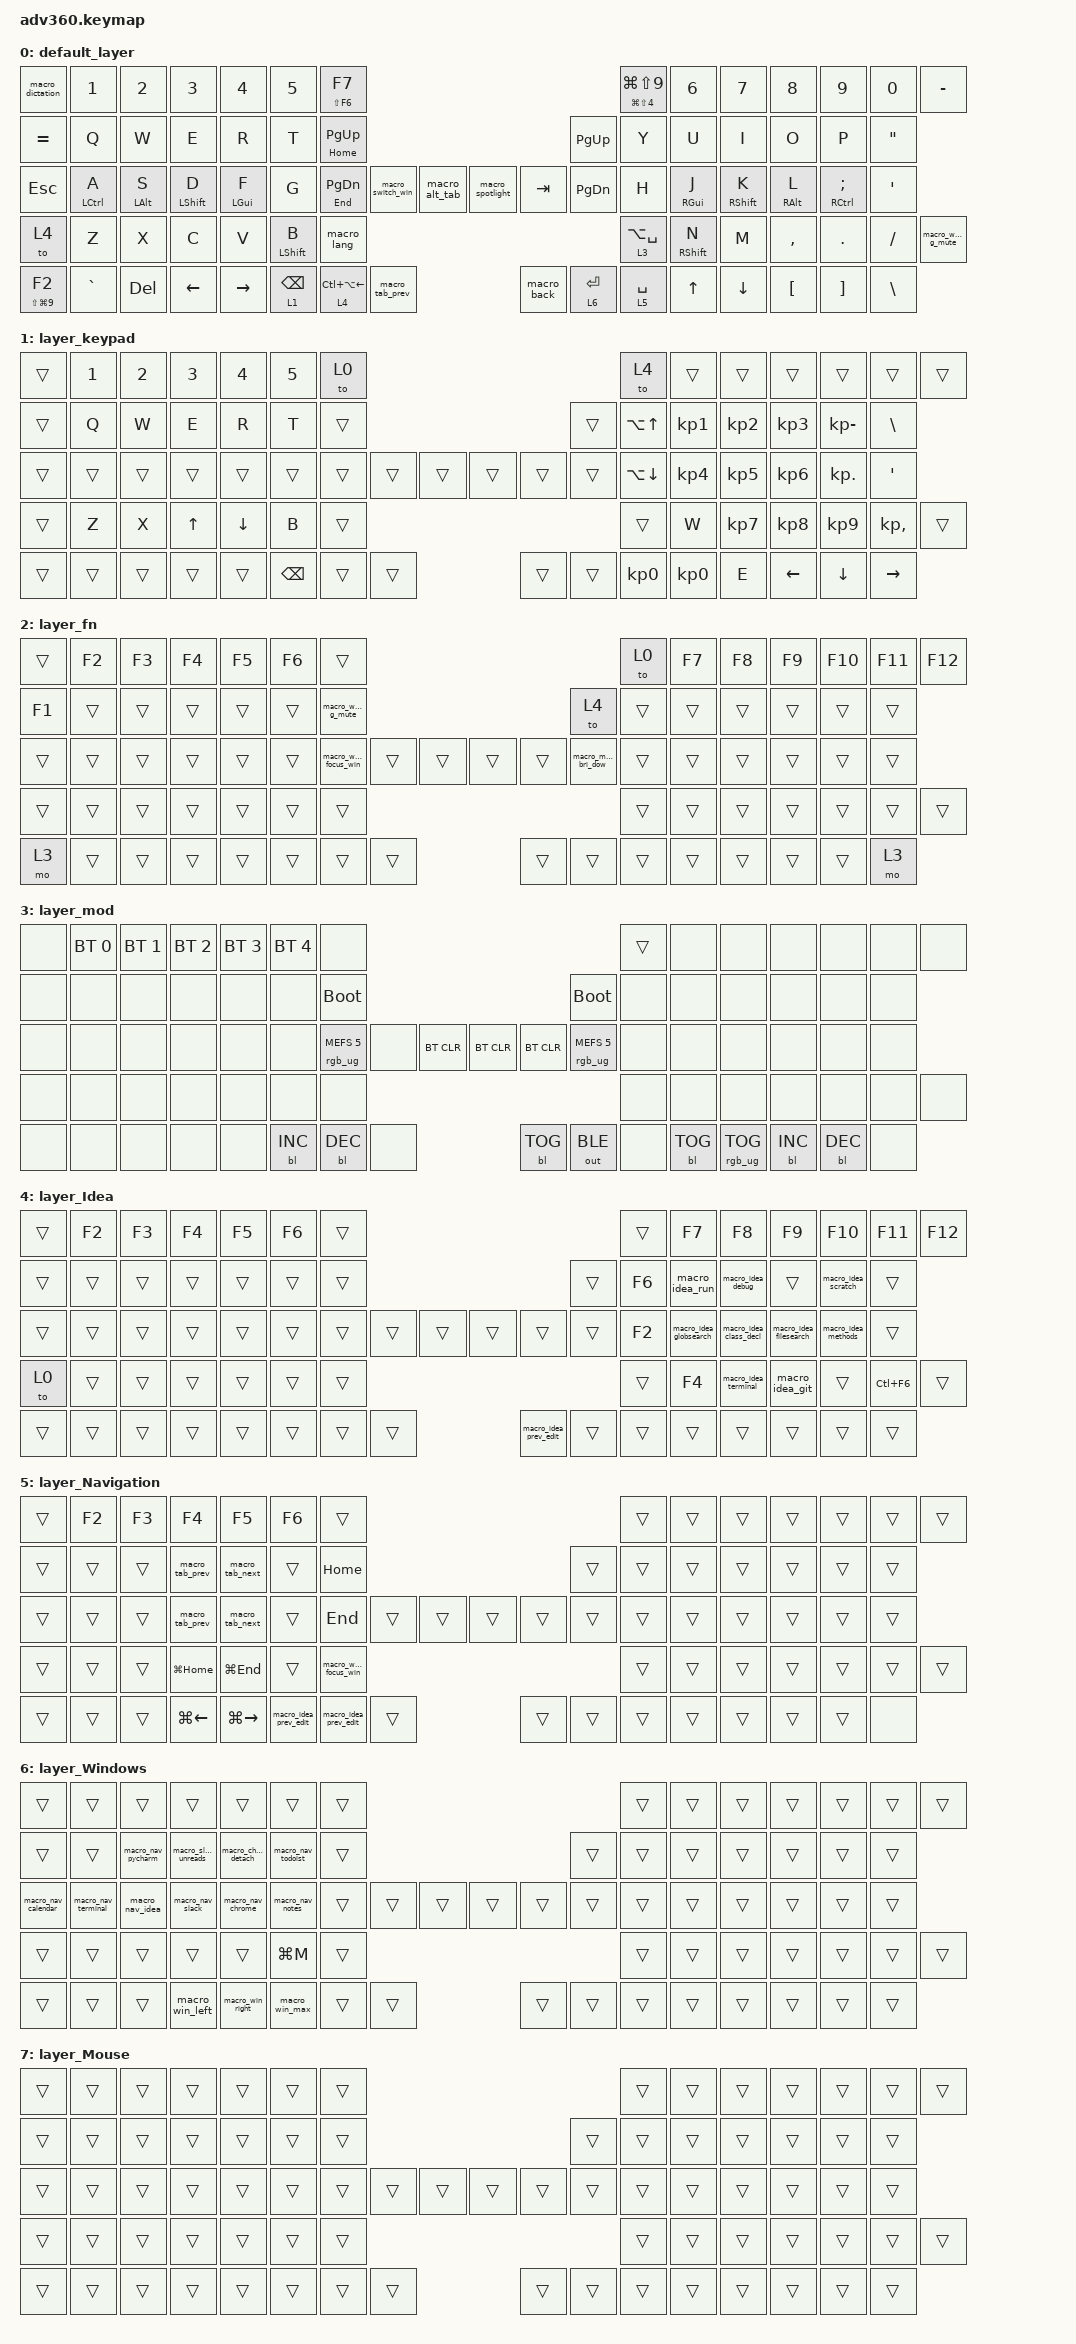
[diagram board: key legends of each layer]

/*
 * Copyright (c) 2020 The ZMK Contributors
 *
 * SPDX-License-Identifier: MIT
 */


/* THIS FILE WAS GENERATED!
 *
 * This file was generated automatically. You may or may not want to
 * edit it directly.
 */

#include <behaviors.dtsi>
#include <dt-bindings/zmk/keys.h>
#include <dt-bindings/zmk/bt.h>
#include <dt-bindings/zmk/rgb.h>
#include <dt-bindings/zmk/backlight.h>
#include <dt-bindings/zmk/outputs.h>

/ {
  behaviors {
    #include "macros.dtsi"
    #include "version.dtsi"

    hm: homerow_mods {
        compatible = "zmk,behavior-hold-tap";
        label = "HOMEROW_MODS";
        #binding-cells = <2>;
        tapping-term-ms = <200>;
        quick_tap_ms = <175>;
        flavor = "tap-preferred";
        bindings = <&kp>, <&kp>;
    };
  };

    keymap {
        compatible = "zmk,keymap";


        default_layer {
            bindings = <
  &macro_dictation                &kp N1        &kp N2          &kp N3           &kp N4         &kp N5             &mt LS(F6) F7                                                                                            &mt LG(LS(N4)) LG(LS(N9))          &kp N6             &kp N7          &kp N8             &kp N9                         &kp N0            &kp MINUS
         &kp EQUAL                 &kp Q         &kp W           &kp E            &kp R          &kp T            &mt HOME PG_UP                                                                                                            &kp PG_UP           &kp Y              &kp U           &kp I              &kp O                          &kp P    &kp DOUBLE_QUOTES
           &kp ESC  &hm_l LEFT_CONTROL A  &hm_l LALT S  &hm_l LSHIFT D     &hm_l LGUI F          &kp G             &mt END PG_DN         &macro_switch_win   &macro_alt_tab                  &macro_spotlight      &kp TAB                  &kp PG_DN           &kp H  &hm_r RIGHT_GUI J  &hm_r RSHIFT K  &hm_r RIGHT_ALT L  &hm_r RIGHT_CONTROL SEMICOLON              &kp SQT
             &to 4                 &kp Z         &kp X           &kp C            &kp V  &hm_l LSHFT B                                                          &macro_lang                   &lt 3 LA(SPACE)                                          &hm_r RSHIFT N              &kp M       &kp COMMA            &kp DOT                       &kp FSLH  &macro_webex_g_mute
 &mt LS(LG(N9)) F2             &kp GRAVE       &kp DEL  &kp LEFT_ARROW  &kp RIGHT_ARROW                               &lt 1 BSPC  &lt 4 LC(LA(LEFT_ARROW))  &macro_tab_prev                       &macro_back  &lt 6 ENTER                &lt 5 SPACE                       &kp UP_ARROW  &kp DOWN_ARROW   &kp LEFT_BRACKET              &kp RIGHT_BRACKET             &kp BSLH
            >;
        };

        layer_keypad {
            bindings = <
 &trans  &kp N1  &kp N2        &kp N3          &kp N4  &kp N5               &to 0                                                      &to 4              &trans     &trans     &trans          &trans          &trans           &trans
 &trans   &kp Q   &kp W         &kp E           &kp R   &kp T              &trans                                                     &trans    &kp LA(UP_ARROW)  &kp KP_N1  &kp KP_N2       &kp KP_N3    &kp KP_MINUS         &kp BSLH
 &trans  &trans  &trans        &trans          &trans  &trans              &trans  &trans  &trans                  &trans  &trans     &trans  &kp LA(DOWN_ARROW)  &kp KP_N4  &kp KP_N5       &kp KP_N6      &kp KP_DOT          &kp SQT
 &trans   &kp Z   &kp X  &kp UP_ARROW  &kp DOWN_ARROW   &kp B                              &trans                  &trans                                  &kp W  &kp KP_N7  &kp KP_N8       &kp KP_N9    &kp KP_COMMA           &trans
 &trans  &trans  &trans        &trans          &trans                    &kp BSPC  &trans  &trans                  &trans  &trans  &kp KP_N0                      &kp KP_N0      &kp E  &kp LEFT_ARROW  &kp DOWN_ARROW  &kp RIGHT_ARROW
            >;
        };

        layer_fn {
            bindings = <
 &trans  &kp F2  &kp F3  &kp F4  &kp F5  &kp F6                            &trans                                                                   &to 0  &kp F7  &kp F8  &kp F9  &kp F10  &kp F11  &kp F12
 &kp F1  &trans  &trans  &trans  &trans  &trans               &macro_webex_g_mute                                                                   &to 4  &trans  &trans  &trans   &trans   &trans   &trans
 &trans  &trans  &trans  &trans  &trans  &trans            &macro_webex_focus_win  &trans  &trans                  &trans  &trans  &macro_monitor_bri_dow  &trans  &trans  &trans   &trans   &trans   &trans
 &trans  &trans  &trans  &trans  &trans  &trans                                            &trans                  &trans                                  &trans  &trans  &trans   &trans   &trans   &trans
  &mo 3  &trans  &trans  &trans  &trans                                    &trans  &trans  &trans                  &trans  &trans                  &trans          &trans  &trans   &trans   &trans    &mo 3
            >;
        };

        layer_mod {
            bindings = <
  &none  &bt BT_SEL 0  &bt BT_SEL 1  &bt BT_SEL 2  &bt BT_SEL 3  &bt BT_SEL 4                             &none                                                                                    &trans   &none       &none            &none       &none       &none   &none
  &none         &none         &none         &none         &none         &none                       &bootloader                                                                               &bootloader   &none       &none            &none       &none       &none   &none
  &none         &none         &none         &none         &none         &none            &rgb_ug RGB_MEFS_CMD 5       &none  &bt BT_CLR                  &bt BT_CLR    &bt BT_CLR  &rgb_ug RGB_MEFS_CMD 5   &none       &none            &none       &none       &none   &none
  &none         &none         &none         &none         &none         &none                                                     &none                       &none                                         &none       &none            &none       &none       &none   &none
  &none         &none         &none         &none         &none                                      &bl BL_INC  &bl BL_DEC       &none                  &bl BL_TOG  &out OUT_BLE                   &none          &bl BL_TOG  &rgb_ug RGB_TOG  &bl BL_INC  &bl BL_DEC   &none
            >;
        };

        layer_Idea {
            bindings = <
 &trans  &kp F2  &kp F3  &kp F4  &kp F5  &kp F6            &trans                                                                 &trans  &kp F7                  &kp F8                  &kp F9                 &kp F10              &kp F11  &kp F12
 &trans  &trans  &trans  &trans  &trans  &trans            &trans                                                                 &trans  &kp F6         &macro_idea_run       &macro_idea_debug                  &trans  &macro_idea_scratch   &trans
 &trans  &trans  &trans  &trans  &trans  &trans            &trans  &trans  &trans                                 &trans  &trans  &trans  &kp F2  &macro_idea_globsearch  &macro_idea_class_decl  &macro_idea_filesearch  &macro_idea_methods   &trans
  &to 0  &trans  &trans  &trans  &trans  &trans                            &trans                                 &trans                  &kp F4    &macro_idea_terminal         &macro_idea_git                  &trans           &kp LC(F6)   &trans
 &trans  &trans  &trans  &trans  &trans                    &trans  &trans  &trans                  &macro_idea_prev_edit  &trans  &trans                          &trans                  &trans                  &trans               &trans   &trans
            >;
        };

        layer_Navigation {
            bindings = <
 &trans  &kp F2  &kp F3              &kp F4               &kp F5  &kp F6                           &trans                                                                                 &trans  &trans  &trans  &trans  &trans  &trans  &trans
 &trans  &trans  &trans     &macro_tab_prev      &macro_tab_next  &trans                         &kp HOME                                                                                 &trans  &trans  &trans  &trans  &trans  &trans  &trans
 &trans  &trans  &trans     &macro_tab_prev      &macro_tab_next  &trans                          &kp END                 &trans                  &trans                  &trans  &trans  &trans  &trans  &trans  &trans  &trans  &trans  &trans
 &trans  &trans  &trans        &kp LG(HOME)          &kp LG(END)  &trans                                                          &macro_webex_focus_win                  &trans                  &trans  &trans  &trans  &trans  &trans  &trans
 &trans  &trans  &trans  &kp LG(LEFT_ARROW)  &kp LG(RIGHT_ARROW)                    &macro_idea_prev_edit  &macro_idea_prev_edit                  &trans                  &trans  &trans  &trans          &trans  &trans  &trans  &trans   &none
            >;
        };

        layer_Windows {
            bindings = <
              &trans               &trans              &trans                &trans                &trans              &trans                    &trans                                                  &trans  &trans  &trans  &trans  &trans  &trans  &trans
              &trans               &trans  &macro_nav_pycharm  &macro_slack_unreads  &macro_chrome_detach  &macro_nav_todoist                    &trans                                                  &trans  &trans  &trans  &trans  &trans  &trans  &trans
 &macro_nav_calendar  &macro_nav_terminal     &macro_nav_idea      &macro_nav_slack     &macro_nav_chrome    &macro_nav_notes                    &trans  &trans  &trans                  &trans  &trans  &trans  &trans  &trans  &trans  &trans  &trans  &trans
              &trans               &trans              &trans                &trans                &trans           &kp LG(M)                                    &trans                  &trans                  &trans  &trans  &trans  &trans  &trans  &trans
              &trans               &trans              &trans       &macro_win_left      &macro_win_right                                &macro_win_max  &trans  &trans                  &trans  &trans  &trans          &trans  &trans  &trans  &trans  &trans
            >;
        };

        layer_Mouse {
            bindings = <
 &trans  &trans  &trans  &trans  &trans  &trans            &trans                                                  &trans  &trans  &trans  &trans  &trans  &trans  &trans
 &trans  &trans  &trans  &trans  &trans  &trans            &trans                                                  &trans  &trans  &trans  &trans  &trans  &trans  &trans
 &trans  &trans  &trans  &trans  &trans  &trans            &trans  &trans  &trans                  &trans  &trans  &trans  &trans  &trans  &trans  &trans  &trans  &trans
 &trans  &trans  &trans  &trans  &trans  &trans                            &trans                  &trans                  &trans  &trans  &trans  &trans  &trans  &trans
 &trans  &trans  &trans  &trans  &trans                    &trans  &trans  &trans                  &trans  &trans  &trans          &trans  &trans  &trans  &trans  &trans
            >;
        };

    };
};
